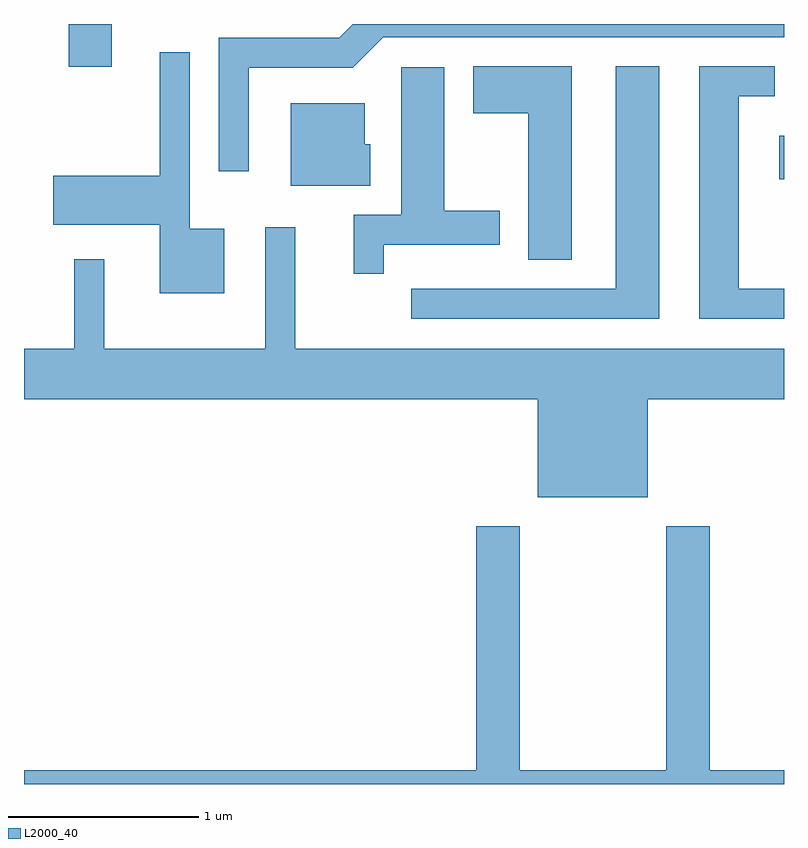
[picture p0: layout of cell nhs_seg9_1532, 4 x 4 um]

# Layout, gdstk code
import gdstk
lib = gdstk.Library(unit=1e-6, precision=1e-09)
def R(c, l, rs):  # rectangles x0, y0, x1, y1
    for r in rs: c.add(gdstk.rectangle(r[:2], r[2:], *l))
def P(c, l, *ps):  # polygons
    for p in ps: c.add(gdstk.Polygon(p, *l))
L2000_40 = (2000, 40)

nhs_seg9_1532 = lib.new_cell('nhs_seg9_1532')
R(nhs_seg9_1532, L2000_40, [(233.586,2019.616,233.611,2019.844), (229.846,2020.206,230.074,2020.432)])
P(nhs_seg9_1532, L2000_40, [(230.794,2020.201),(231.342,2020.201),(231.502,2020.361),(233.611,2020.361),(233.611,2020.432),(231.342,2020.432),(231.269,2020.359),(230.636,2020.359),(230.636,2019.658),(230.794,2019.658)],
  [(230.664,2019.354),(230.484,2019.354),(230.484,2020.283),(230.326,2020.283),(230.326,2019.634),(229.766,2019.634),(229.766,2019.376),(230.326,2019.376),(230.326,2019.016),(230.664,2019.016)],
  [(232.494,2020.209),(231.976,2020.209),(231.976,2019.961),(232.266,2019.961),(232.266,2019.191),(232.494,2019.191)],
  [(232.954,2020.209),(232.726,2020.209),(232.726,2019.039),(231.648,2019.039),(231.648,2018.881),(232.954,2018.881)],
  [(233.611,2019.039),(233.374,2019.039),(233.374,2020.051),(233.563,2020.051),(233.563,2020.209),(233.166,2020.209),(233.166,2018.881),(233.611,2018.881)],
  [(231.504,2019.271),(232.114,2019.271),(232.114,2019.449),(231.824,2019.449),(231.824,2020.204),(231.596,2020.204),(231.596,2019.429),(231.346,2019.429),(231.346,2019.118),(231.504,2019.118)],
  [(231.434,2019.799),(231.404,2019.799),(231.404,2020.014),(231.016,2020.014),(231.016,2019.581),(231.434,2019.581)],
  [(232.894,2018.456),(233.611,2018.456),(233.611,2018.724),(231.039,2018.724),(231.039,2019.363),(230.881,2019.363),(230.881,2018.724),(230.034,2018.724),(230.034,2019.193),(229.876,2019.193),(229.876,2018.724),(229.611,2018.724),(229.611,2018.456),(232.316,2018.456),(232.316,2017.941),(232.894,2017.941)],
  [(233.611,2016.504),(233.219,2016.504),(233.219,2017.789),(232.991,2017.789),(232.991,2016.504),(232.219,2016.504),(232.219,2017.789),(231.991,2017.789),(231.991,2016.504),(229.611,2016.504),(229.611,2016.432),(233.611,2016.432)])

lib.write_gds('nhs_seg9_1532.gds')
